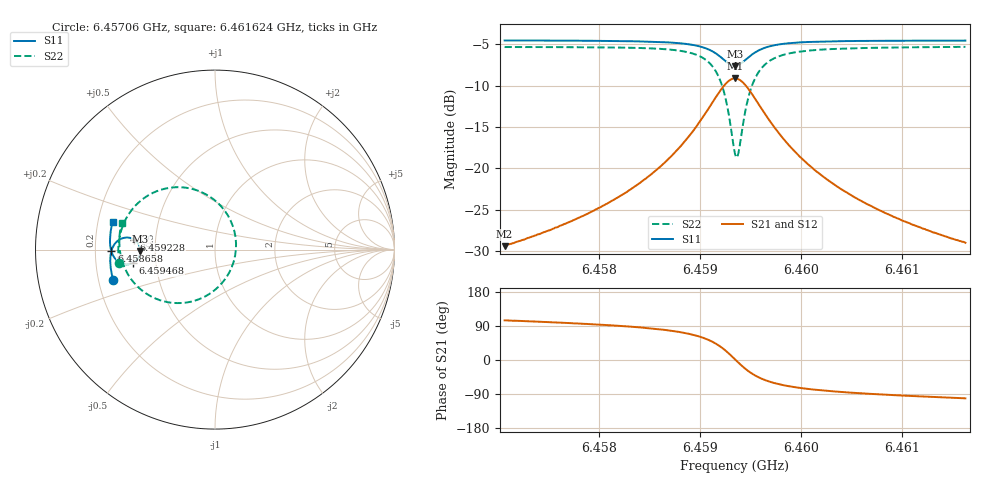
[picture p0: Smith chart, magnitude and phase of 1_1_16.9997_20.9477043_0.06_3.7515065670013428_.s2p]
#  HZ  S  RI  R  50.00
! Rohde & Schwarz Vector Network Analyzer
! Rohde-Schwarz,ZNB20-2Port,1311601062101988,3.16
! Created: UTC 3/20/2024, 10:52:03 PM
! freq[Hz]  re:S11  im:S11  re:S21  im:S21  re:S12  im:S12  re:S22  im:S22
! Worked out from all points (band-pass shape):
!   401 points, 6.45706 GHz to 6.461624 GHz, reference 50 ohm
!   highest |S21| = -9.14 dB at 6.459342 GHz (marker M1); lowest = -29.4 dB at 6.45706 GHz (marker M2)
!   |S21| within 3 dB of the highest: 6.459114 GHz to 6.45957 GHz (456.1 kHz wide, 0.00706 % of centre)
!   lowest |S11| = -7.6 dB at 6.459342 GHz (marker M3), VSWR 2.42, Z = 20.6 - j0.399 ohm
!   |S11| at or under -10 dB: nowhere
!   |S22| runs from -18.7 to -5.3 dB; largest |S21 - S12| = 0.014
!   S11 on the Smith chart (normalised r, x): 6.45706 GHz: 0.26, -0.13; 6.458658 GHz: 0.27, -0.01; 6.459228 GHz: 0.38, +0.05; 6.459468 GHz: 0.37, -0.07; 6.461624 GHz: 0.26, +0.12
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6.4570602e9  -0.5677 -0.1672  -0.00858 0.0327  -0.00681 0.0329  -0.5345 -0.0771
6.4578247e9  -0.5811 -0.1002  -0.00518 0.051  -0.00257 0.0503  -0.5385 0.0129
6.4582469e9  -0.5837 -0.0576  0.00114 0.0705  0.0044 0.0691  -0.5293 0.0801
6.4585892e9  -0.5795 -0.0164  0.0155 0.0995  0.0193 0.0968  -0.5029 0.1579
6.4586576e9  -0.577 -0.00696  0.0209 0.1079  0.0248 0.1046  -0.4925 0.178
6.4588516e9  -0.5642 0.0236  0.0479 0.139  0.0519 0.1339  -0.4418 0.2469
6.459e9  -0.5411 0.0498  0.0939 0.1694  0.097 0.1627  -0.3567 0.3108
6.4591369e9  -0.4965 0.0671  0.1821 0.1852  0.1829 0.178  -0.1955 0.3476
6.4592282e9  -0.4514 0.0563  0.2727 0.1528  0.2729 0.1469  -0.028 0.2946
6.4592966e9  -0.4223 0.0236  0.3332 0.0795  0.3353 0.0742  0.0866 0.1622
6.4593423e9  -0.4156 -0.008  0.349 0.0106  0.3527 0.00373  0.1173 0.0335
6.4593537e9  -0.4161 -0.0161  0.3484 -0.00736  0.3525 -0.0151  0.1165 -0.000366
6.4593765e9  -0.4198 -0.0319  0.3425 -0.0423  0.3464 -0.0515  0.1042 -0.0666
6.4594222e9  -0.4358 -0.0583  0.3129 -0.1025  0.3151 -0.1146  0.0443 -0.18
6.4594678e9  -0.4581 -0.0748  0.27 -0.1435  0.2691 -0.1568  -0.0427 -0.2541
6.4595591e9  -0.5021 -0.0814  0.1841 -0.1739  0.1777 -0.1854  -0.2135 -0.298
6.4597074e9  -0.5463 -0.0606  0.0954 -0.1589  0.087 -0.1651  -0.3813 -0.246
6.4598672e9  -0.5679 -0.0328  0.0507 -0.1303  0.043 -0.1331  -0.4614 -0.1725
6.4601068e9  -0.5806 0.00296  0.0217 -0.0983  0.0158 -0.0988  -0.5086 -0.0891
6.4604377e9  -0.5851 0.0426  0.00611 -0.0718  0.00192 -0.0712  -0.5289 -0.0117
6.4608713e9  -0.5829 0.0864  -0.0019 -0.0523  -0.00477 -0.0514  -0.5329 0.0586
6.4616244e9  -0.5706 0.1532  -0.00686 -0.0348  -0.00848 -0.0339  -0.5208 0.1479
